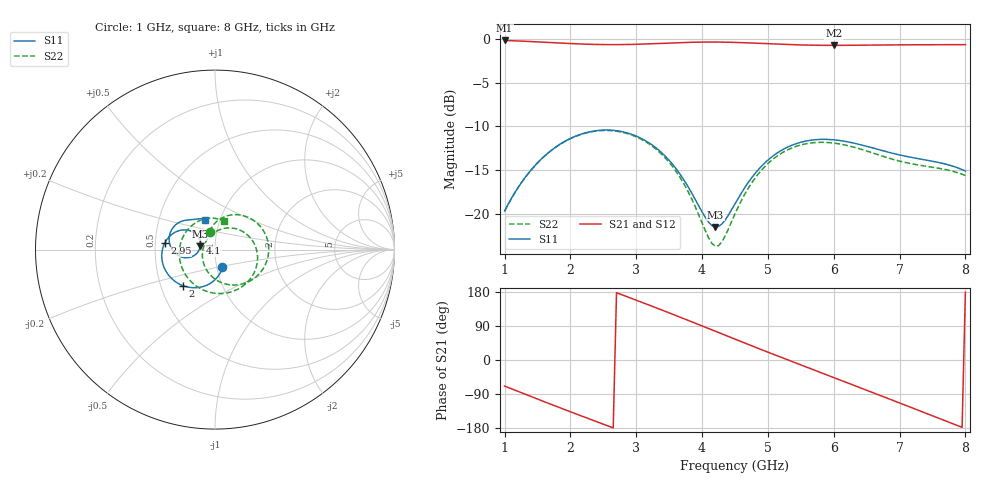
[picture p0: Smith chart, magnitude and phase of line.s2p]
# GHz S RI R 50
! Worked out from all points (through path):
!   141 points, 1 GHz to 8 GHz, reference 50 ohm
!   highest |S21| = -0.17 dB at 1 GHz (marker M1); lowest = -0.7 dB at 6 GHz (marker M2)
!   group delay of S21, straight-line fit = 188 ps
!   lowest |S11| = -21.5 dB at 4.2 GHz (marker M3), VSWR 1.18, Z = 42.4 + j1.53 ohm
!   |S11| at or under -10 dB: start of sweep to end of sweep
!   |S22| runs from -23.7 to -10.5 dB; largest |S21 - S12| = 0
!   S11 on the Smith chart (normalised r, x): 1 GHz: 1.07, -0.20; 2 GHz: 0.65, -0.28; 2.95 GHz: 0.56, +0.04; 4.1 GHz: 0.85, +0.06; 8 GHz: 0.85, +0.29
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1  0.0414 -0.0949  0.3542 -0.914  0.3542 -0.914  -0.0291 0.0993
1.5  -0.0342 -0.1925  -0.2179 -0.9371  -0.2179 -0.9371  0.0598 0.1858
2  -0.1807 -0.2001  -0.684 -0.6461  -0.684 -0.6461  0.2123 0.1648
2.2  -0.2341 -0.1679  -0.8075 -0.4697  -0.8075 -0.4697  0.2622 0.117
2.6  -0.2941 -0.0629  -0.9254 -0.0656  -0.9254 -0.0656  0.2983 -0.0201
2.95  -0.2805 0.036  -0.881 0.3007  -0.881 0.3007  0.2442 -0.1373
3.35  -0.2045 0.1043  -0.661 0.6716  -0.661 0.6716  0.1082 -0.1975
3.75  -0.1171 0.0945  -0.2828 0.912  -0.2828 0.912  -0.0278 -0.1395
4.1  -0.0814 0.0369  0.1191 0.9526  0.1191 0.9526  -0.0699 -0.0197
4.2  -0.082 0.0179  0.2341 0.9309  0.2341 0.9309  -0.0631 0.0162
4.5  -0.1101 -0.029  0.5484 0.7821  0.5484 0.7821  0.00234 0.0997
4.8  -0.1629 -0.0454  0.7818 0.5325  0.7818 0.5325  0.1059 0.1186
5.1  -0.2155 -0.0259  0.9078 0.2244  0.9078 0.2244  0.1981 0.0643
5.4  -0.2486 0.0191  0.9207 -0.1001  0.9207 -0.1001  0.2372 -0.0401
5.7  -0.2545 0.0725  0.8265 -0.4054  0.8265 -0.4054  0.2041 -0.1529
6  -0.2367 0.1184  0.6379 -0.6615  0.6379 -0.6615  0.1069 -0.2299
6.45  -0.1895 0.1566  0.2209 -0.8946  0.2209 -0.8946  -0.0838 -0.2159
6.85  -0.1512 0.1651  -0.2104 -0.9003  -0.2104 -0.9003  -0.1909 -0.0806
7.15  -0.1293 0.1667  -0.5112 -0.7717  -0.5112 -0.7717  -0.1888 0.0449
7.45  -0.1082 0.1697  -0.7481 -0.5459  -0.7481 -0.5459  -0.1219 0.14
7.75  -0.0814 0.1716  -0.8916 -0.252  -0.8916 -0.252  -0.0242 0.1754
8  -0.0531 0.1671  -0.9274 0.0189  -0.9274 0.0189  0.0497 0.1577
